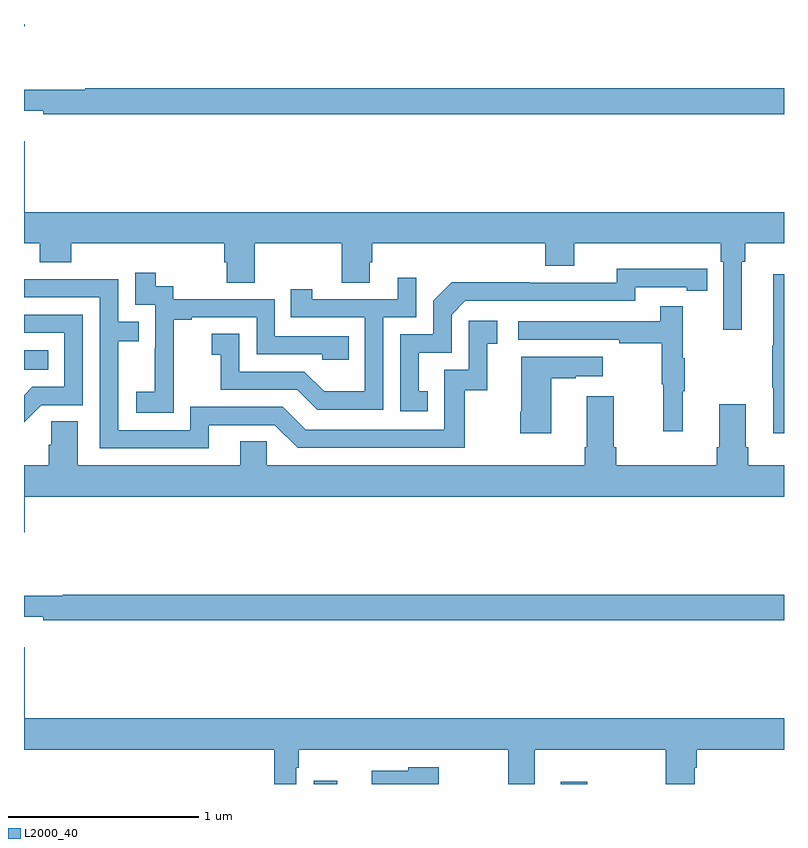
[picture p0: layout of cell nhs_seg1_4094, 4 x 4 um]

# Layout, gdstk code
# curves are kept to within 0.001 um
import gdstk
lib = gdstk.Library(unit=1e-6, precision=1e-09)
def R(c, l, rs):  # rectangles x0, y0, x1, y1
    for r in rs: c.add(gdstk.rectangle(r[:2], r[2:], *l))
def P(c, l, *ps):  # polygons
    for p in ps: c.add(gdstk.Polygon(p, *l))
L2000_40 = (2000, 40)

nhs_seg1_4094 = lib.new_cell('nhs_seg1_4094')
R(nhs_seg1_4094, L2000_40, [(334.526,570.199,334.648,570.217), (335.825,570.199,335.965,570.211), (333,572.378,333.128,572.482), (333,574.188,333.004,574.199)])
P(nhs_seg1_4094, L2000_40, [(337,573.86),(333.323,573.86),(333.323,573.853),(333,573.853),(333,573.743),(333.1,573.743),(333.1,573.724),(337,573.724)],
  [(336.778,572.948),(336.797,572.948),(336.797,573.044),(337,573.044),(337,573.208),(333.004,573.208),(333.004,573.583),(333,573.583),(333,573.044),(333.083,573.044),(333.083,572.945),(333.248,572.945),(333.248,573.044),(334.055,573.044),(334.055,572.946),(334.067,572.946),(334.067,572.836),(334.215,572.836),(334.215,573.044),(334.672,573.044),(334.672,572.836),(334.819,572.836),(334.819,572.946),(334.832,572.946),(334.832,573.044),(335.744,573.044),(335.744,572.927),(335.896,572.927),(335.896,573.044),(336.668,573.044),(336.668,572.948),(336.681,572.948),(336.681,572.589),(336.778,572.589)],
  [(335.126,572.265),(335.077,572.265),(335.077,572.469),(335.25,572.469),(335.25,572.67),(335.322,572.742),(336.216,572.742),(336.216,572.814),(336.488,572.814),(336.488,572.794),(336.596,572.794),(336.596,572.91),(336.12,572.911),(336.12,572.838),(335.66,572.838),(335.66,572.84),(335.252,572.84),(335.154,572.742),(335.154,572.565),(334.98,572.565),(334.98,572.16),(335.126,572.16)],
  [(333.789,572.359),(333.788,572.359),(333.788,572.643),(333.883,572.643),(333.883,572.655),(334.224,572.655),(334.224,572.46),(334.569,572.46),(334.569,572.433),(334.709,572.433),(334.709,572.556),(334.32,572.556),(334.32,572.751),(333.786,572.751),(333.786,572.82),(333.694,572.82),(333.694,572.89),(333.585,572.89),(333.585,572.721),(333.69,572.721),(333.69,572.492),(333.689,572.492),(333.689,572.263),(333.591,572.263),(333.591,572.153),(333.789,572.153)],
  [(337,572.881),(336.944,572.881),(336.944,572.505),(336.937,572.505),(336.937,572.284),(336.944,572.284),(336.944,572.046),(337,572.046)],
  [(334.89,572.655),(335.064,572.655),(335.064,572.863),(334.967,572.863),(334.967,572.751),(334.516,572.751),(334.516,572.803),(334.405,572.803),(334.405,572.655),(334.794,572.655),(334.794,572.266),(334.58,572.266),(334.476,572.37),(334.134,572.37),(334.134,572.569),(333.987,572.569),(333.987,572.459),(334.036,572.459),(334.036,572.274),(334.439,572.274),(334.544,572.169),(334.89,572.169)],
  [(333.973,572.088),(334.32,572.088),(334.44,571.968),(335.32,571.968),(335.32,572.271),(335.438,572.271),(335.438,572.517),(335.491,572.517),(335.491,572.638),(335.34,572.638),(335.34,572.379),(335.211,572.379),(335.211,572.064),(334.482,572.064),(334.362,572.184),(333.876,572.184),(333.876,572.061),(333.495,572.061),(333.495,572.53),(333.605,572.53),(333.605,572.631),(333.495,572.631),(333.495,572.856),(333,572.856),(333,572.76),(333.399,572.76),(333.399,571.965),(333.973,571.965)],
  [(336.467,572.267),(336.478,572.267),(336.478,572.441),(336.467,572.441),(336.467,572.713),(336.349,572.713),(336.349,572.634),(335.601,572.634),(335.601,572.538),(336.133,572.538),(336.133,572.518),(336.357,572.518),(336.357,572.304),(336.364,572.304),(336.364,572.055),(336.467,572.055)],
  [(333.09,572.193),(333.309,572.193),(333.309,572.67),(333,572.67),(333,572.574),(333.213,572.574),(333.213,572.289),(333.044,572.289),(333,572.245),(333,572.104)],
  [(335.776,572.335),(335.903,572.335),(335.903,572.345),(336.046,572.345),(336.046,572.449),(335.618,572.449),(335.618,572.158),(335.611,572.158),(335.611,572.046),(335.776,572.046)],
  [(333.004,571.712),(337,571.712),(337,571.876),(336.812,571.876),(336.812,571.972),(336.799,571.972),(336.799,572.197),(336.659,572.197),(336.659,571.972),(336.647,571.972),(336.647,571.876),(336.116,571.876),(336.116,571.972),(336.103,571.972),(336.103,572.239),(335.963,572.239),(335.963,571.972),(335.951,571.972),(335.951,571.876),(334.278,571.876),(334.278,572.003),(334.139,572.003),(334.139,571.876),(333.283,571.876),(333.283,572.108),(333.144,572.108),(333.144,571.985),(333.131,571.985),(333.131,571.876),(333,571.876),(333,571.524),(333.004,571.524)],
  [(337,571.196),(333.203,571.196),(333.203,571.189),(333,571.189),(333,571.079),(333.1,571.079),(333.1,571.06),(337,571.06)],
  [(334.434,570.284),(334.447,570.284),(334.447,570.38),(335.549,570.38),(335.549,570.199),(335.689,570.199),(335.689,570.38),(336.377,570.38),(336.377,570.199),(336.529,570.199),(336.529,570.284),(336.542,570.284),(336.542,570.38),(337,570.38),(337,570.544),(333.004,570.544),(333.004,570.919),(333,570.919),(333,570.38),(334.318,570.38),(334.318,570.199),(334.434,570.199)],
  [(335.182,570.286),(335.022,570.286),(335.022,570.268),(334.83,570.268),(334.83,570.199),(335.182,570.199)])

lib.write_gds('nhs_seg1_4094.gds')
